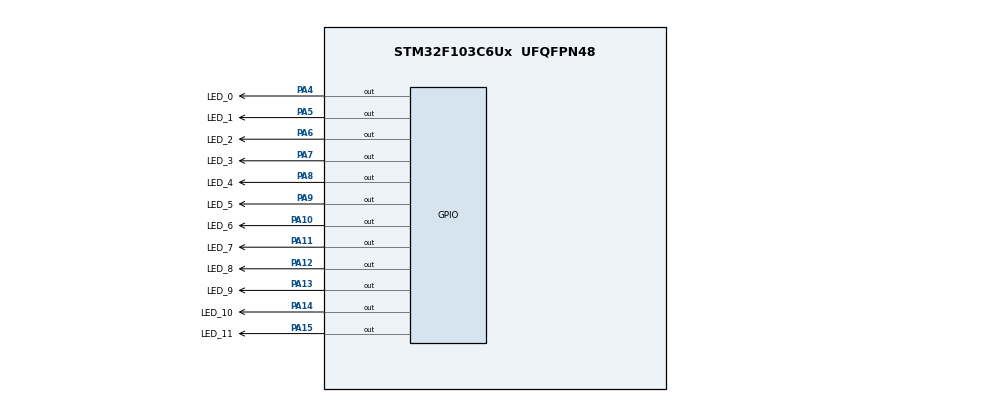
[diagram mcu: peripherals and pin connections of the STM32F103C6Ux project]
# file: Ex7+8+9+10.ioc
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Mcu.Family=STM32F1
Mcu.Name=STM32F103C6Ux
Mcu.Package=UFQFPN48
NVIC.PriorityGroup=NVIC_PRIORITYGROUP_4
PA10.GPIO_Label=LED_6
PA10.Signal=GPIO_Output
PA11.GPIO_Label=LED_7
PA11.Signal=GPIO_Output
PA12.GPIO_Label=LED_8
PA12.Signal=GPIO_Output
PA13.GPIO_Label=LED_9
PA13.Signal=GPIO_Output
PA14.GPIO_Label=LED_10
PA14.Signal=GPIO_Output
PA15.GPIO_Label=LED_11
PA15.Signal=GPIO_Output
PA4.GPIO_Label=LED_0
PA4.Signal=GPIO_Output
PA5.GPIO_Label=LED_1
PA5.Signal=GPIO_Output
PA6.GPIO_Label=LED_2
PA6.Signal=GPIO_Output
PA7.GPIO_Label=LED_3
PA7.Signal=GPIO_Output
PA8.GPIO_Label=LED_4
PA8.Signal=GPIO_Output
PA9.GPIO_Label=LED_5
PA9.Signal=GPIO_Output
ProjectManager.HeapSize=0x200
ProjectManager.StackSize=0x400
ProjectManager.TargetToolchain=STM32CubeIDE
RCC.APB1Freq_Value=8000000
RCC.APB2Freq_Value=8000000
VP_SYS_VS_ND.Mode=No_Debug
board=custom

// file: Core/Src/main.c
/* USER CODE BEGIN Header */
/**
  ******************************************************************************
  * @file           : main.c
  * @brief          : Main program body
  ******************************************************************************
  * @attention
  *
  * <h2><center>&copy; Copyright (c) 2022 STMicroelectronics.
  * All rights reserved.</center></h2>
  *
  * This software component is licensed by ST under BSD 3-Clause license,
  * the "License"; You may not use this file except in compliance with the
  * License. You may obtain a copy of the License at:
  *                        opensource.org/licenses/BSD-3-Clause
  *
  ******************************************************************************
  */
/* USER CODE END Header */
#include "main.h"

void SystemClock_Config(void);
static void MX_GPIO_Init(void);
/* USER CODE BEGIN PFP */
void clearAllClock();
void setNumberOnClock(int num);
void clearNumberOnClock(int num);
/* USER CODE END PFP */

int main(void)
{

  /* MCU Configuration--------------------------------------------------------*/

  /* Reset of all peripherals, Initializes the Flash interface and the Systick. */
  HAL_Init();

  /* Configure the system clock */
  SystemClock_Config();

  /* Initialize all configured peripherals */
  MX_GPIO_Init();
  /* USER CODE BEGIN 2 */
  int counterHour = 0;
  int counterMin = 0;
  int counterSec = 0;
  /* USER CODE END 2 */

  /* Infinite loop */
  /* USER CODE BEGIN WHILE */
  while (1)
  {
	  if (counterHour == 0 && counterMin == 0 && counterSec == 0) {
		  clearAllClock();
	  } else {
		  clearNumberOnClock((counterSec-1)/5);
		  if (counterSec == 60) {
			  counterSec = 0;
			  counterMin++;
			  clearNumberOnClock((counterMin-1)/5);
			  if (counterMin == 60) {
				  counterMin = 0;
				  counterHour++;
				  clearNumberOnClock(counterHour-1);
				  if (counterHour == 12) {
					  counterHour = 0;
				  }
			  }
		  }
	  }
	  setNumberOnClock(counterSec/5);
	  setNumberOnClock(counterMin/5);
	  setNumberOnClock(counterHour);
	  counterSec++;
	  HAL_Delay(5);
    /* USER CODE END WHILE */

  }
}

void SystemClock_Config(void)
{
  RCC_OscInitTypeDef RCC_OscInitStruct = {0};
  RCC_ClkInitTypeDef RCC_ClkInitStruct = {0};

  /** Initializes the RCC Oscillators according to the specified parameters
  * in the RCC_OscInitTypeDef structure.
  */
  RCC_OscInitStruct.OscillatorType = RCC_OSCILLATORTYPE_HSI;
  RCC_OscInitStruct.HSIState = RCC_HSI_ON;
  RCC_OscInitStruct.HSICalibrationValue = RCC_HSICALIBRATION_DEFAULT;
  RCC_OscInitStruct.PLL.PLLState = RCC_PLL_NONE;
  if (HAL_RCC_OscConfig(&RCC_OscInitStruct) != HAL_OK)
  {
    Error_Handler();
  }
  /** Initializes the CPU, AHB and APB buses clocks
  */
  RCC_ClkInitStruct.ClockType = RCC_CLOCKTYPE_HCLK|RCC_CLOCKTYPE_SYSCLK
                              |RCC_CLOCKTYPE_PCLK1|RCC_CLOCKTYPE_PCLK2;
  RCC_ClkInitStruct.SYSCLKSource = RCC_SYSCLKSOURCE_HSI;
  RCC_ClkInitStruct.AHBCLKDivider = RCC_SYSCLK_DIV1;
  RCC_ClkInitStruct.APB1CLKDivider = RCC_HCLK_DIV1;
  RCC_ClkInitStruct.APB2CLKDivider = RCC_HCLK_DIV1;

  if (HAL_RCC_ClockConfig(&RCC_ClkInitStruct, FLASH_LATENCY_0) != HAL_OK)
  {
    Error_Handler();
  }
}

static void MX_GPIO_Init(void)
{
  GPIO_InitTypeDef GPIO_InitStruct = {0};

  /* GPIO Ports Clock Enable */
  __HAL_RCC_GPIOA_CLK_ENABLE();

  /*Configure GPIO pin Output Level */
  HAL_GPIO_WritePin(GPIOA, LED_0_Pin|LED_1_Pin|LED_2_Pin|LED_3_Pin
                          |LED_4_Pin|LED_5_Pin|LED_6_Pin|LED_7_Pin
                          |LED_8_Pin|LED_9_Pin|LED_10_Pin|LED_11_Pin, GPIO_PIN_RESET);

  /*Configure GPIO pins : LED_0_Pin LED_1_Pin LED_2_Pin LED_3_Pin
                           LED_4_Pin LED_5_Pin LED_6_Pin LED_7_Pin
                           LED_8_Pin LED_9_Pin LED_10_Pin LED_11_Pin */
  GPIO_InitStruct.Pin = LED_0_Pin|LED_1_Pin|LED_2_Pin|LED_3_Pin
                          |LED_4_Pin|LED_5_Pin|LED_6_Pin|LED_7_Pin
                          |LED_8_Pin|LED_9_Pin|LED_10_Pin|LED_11_Pin;
  GPIO_InitStruct.Mode = GPIO_MODE_OUTPUT_PP;
  GPIO_InitStruct.Pull = GPIO_NOPULL;
  GPIO_InitStruct.Speed = GPIO_SPEED_FREQ_LOW;
  HAL_GPIO_Init(GPIOA, &GPIO_InitStruct);

}

/* USER CODE BEGIN 4 */
void clearAllClock() {
	HAL_GPIO_WritePin(LED_0_GPIO_Port, LED_0_Pin, GPIO_PIN_SET);
	HAL_GPIO_WritePin(LED_1_GPIO_Port, LED_1_Pin, GPIO_PIN_SET);
	HAL_GPIO_WritePin(LED_2_GPIO_Port, LED_2_Pin, GPIO_PIN_SET);
	HAL_GPIO_WritePin(LED_3_GPIO_Port, LED_3_Pin, GPIO_PIN_SET);
	HAL_GPIO_WritePin(LED_4_GPIO_Port, LED_4_Pin, GPIO_PIN_SET);
	HAL_GPIO_WritePin(LED_5_GPIO_Port, LED_5_Pin, GPIO_PIN_SET);
	HAL_GPIO_WritePin(LED_6_GPIO_Port, LED_6_Pin, GPIO_PIN_SET);
	HAL_GPIO_WritePin(LED_7_GPIO_Port, LED_7_Pin, GPIO_PIN_SET);
	HAL_GPIO_WritePin(LED_8_GPIO_Port, LED_8_Pin, GPIO_PIN_SET);
	HAL_GPIO_WritePin(LED_9_GPIO_Port, LED_9_Pin, GPIO_PIN_SET);
	HAL_GPIO_WritePin(LED_10_GPIO_Port, LED_10_Pin, GPIO_PIN_SET);
	HAL_GPIO_WritePin(LED_11_GPIO_Port, LED_11_Pin, GPIO_PIN_SET);
}

void setNumberOnClock(int num) {
	switch (num) {
	case 1:
		HAL_GPIO_WritePin(LED_1_GPIO_Port, LED_1_Pin, GPIO_PIN_RESET);
		break;
	case 2:
		HAL_GPIO_WritePin(LED_2_GPIO_Port, LED_2_Pin, GPIO_PIN_RESET);
		break;
	case 3:
		HAL_GPIO_WritePin(LED_3_GPIO_Port, LED_3_Pin, GPIO_PIN_RESET);
		break;
	case 4:
		HAL_GPIO_WritePin(LED_4_GPIO_Port, LED_4_Pin, GPIO_PIN_RESET);
		break;
	case 5:
		HAL_GPIO_WritePin(LED_5_GPIO_Port, LED_5_Pin, GPIO_PIN_RESET);
		break;
	case 6:
		HAL_GPIO_WritePin(LED_6_GPIO_Port, LED_6_Pin, GPIO_PIN_RESET);
		break;
	case 7:
		HAL_GPIO_WritePin(LED_7_GPIO_Port, LED_7_Pin, GPIO_PIN_RESET);
		break;
	case 8:
		HAL_GPIO_WritePin(LED_8_GPIO_Port, LED_8_Pin, GPIO_PIN_RESET);
		break;
	case 9:
		HAL_GPIO_WritePin(LED_9_GPIO_Port, LED_9_Pin, GPIO_PIN_RESET);
		break;
	case 10:
		HAL_GPIO_WritePin(LED_10_GPIO_Port, LED_10_Pin, GPIO_PIN_RESET);
		break;
	case 11:
		HAL_GPIO_WritePin(LED_11_GPIO_Port, LED_11_Pin, GPIO_PIN_RESET);
		break;
	default:
		HAL_GPIO_WritePin(LED_0_GPIO_Port, LED_0_Pin, GPIO_PIN_RESET);
		break;
	}
}

void clearNumberOnClock(int num) {
	switch (num) {
	case 1:
		HAL_GPIO_WritePin(LED_1_GPIO_Port, LED_1_Pin, GPIO_PIN_SET);
		break;
	case 2:
		HAL_GPIO_WritePin(LED_2_GPIO_Port, LED_2_Pin, GPIO_PIN_SET);
		break;
	case 3:
		HAL_GPIO_WritePin(LED_3_GPIO_Port, LED_3_Pin, GPIO_PIN_SET);
		break;
	case 4:
		HAL_GPIO_WritePin(LED_4_GPIO_Port, LED_4_Pin, GPIO_PIN_SET);
		break;
	case 5:
		HAL_GPIO_WritePin(LED_5_GPIO_Port, LED_5_Pin, GPIO_PIN_SET);
		break;
	case 6:
		HAL_GPIO_WritePin(LED_6_GPIO_Port, LED_6_Pin, GPIO_PIN_SET);
		break;
	case 7:
		HAL_GPIO_WritePin(LED_7_GPIO_Port, LED_7_Pin, GPIO_PIN_SET);
		break;
	case 8:
		HAL_GPIO_WritePin(LED_8_GPIO_Port, LED_8_Pin, GPIO_PIN_SET);
		break;
	case 9:
		HAL_GPIO_WritePin(LED_9_GPIO_Port, LED_9_Pin, GPIO_PIN_SET);
		break;
	case 10:
		HAL_GPIO_WritePin(LED_10_GPIO_Port, LED_10_Pin, GPIO_PIN_SET);
		break;
	case 11:
		HAL_GPIO_WritePin(LED_11_GPIO_Port, LED_11_Pin, GPIO_PIN_SET);
		break;
	default:
		HAL_GPIO_WritePin(LED_0_GPIO_Port, LED_0_Pin, GPIO_PIN_SET);
		break;
	}
}
/* USER CODE END 4 */

void Error_Handler(void)
{
  __disable_irq();
  while (1)
  {
  }
}

/************************ (C) COPYRIGHT STMicroelectronics *****END OF FILE****/
